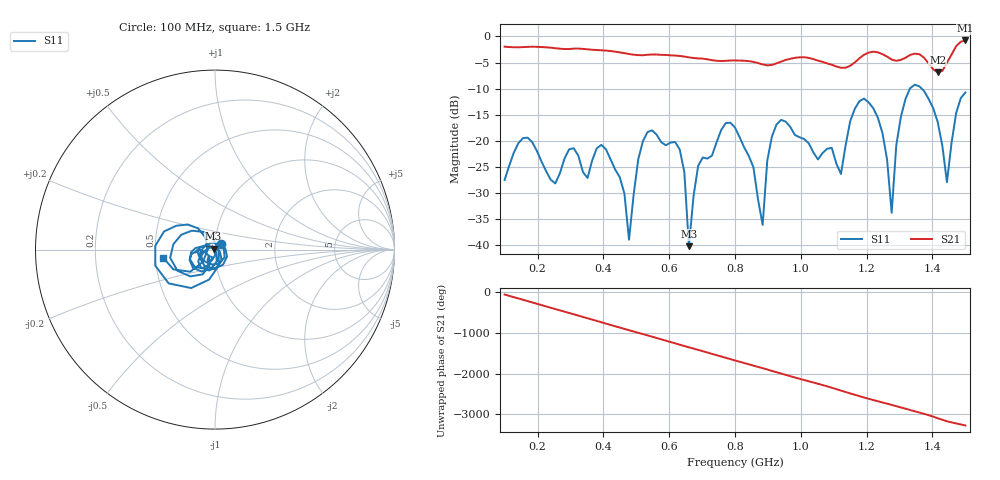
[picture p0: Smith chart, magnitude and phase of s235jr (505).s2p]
! NanoVNA-App
! Date: 2025-09-25 15:08:05
! Start: 100MHz Stop: 1,5GHz Points: 101
! S-Parameter data: F S11 S21 S12 S22
# Hz S RI R 50
!  Frequency  S11_Real  S11_Imag  S21_Real  S21_Imag  S12_Real  S12_Imag  S22_Real  S22_Imag
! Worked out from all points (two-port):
!   101 points, 100 MHz to 1.5 GHz, reference 50 ohm
!   highest |S21| = -0.78 dB at 1.5 GHz (marker M1); lowest = -6.9 dB at 1.416 GHz (marker M2)
!   |S21| within 3 dB of the highest: start of sweep to 636 MHz; 1.187 GHz to 1.259 GHz (72.67 MHz wide, 5.94 % of centre) (the widest 2 of 4)
!   lowest |S11| = -40.1 dB at 660 MHz (marker M3), VSWR 1.02, Z = 49.2 + j0.543 ohm
!   |S11| at or under -10 dB: start of sweep to 1.331 GHz; 1.367 GHz to end of sweep
!   S12 and S22 are empty: the file has one direction only
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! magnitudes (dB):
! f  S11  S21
! 100 MHz  -27.5  -2.0
! 156 MHz  -19.5  -2.0
! 338 MHz  -26.0  -2.4
! 408 MHz  -21.6  -2.7
! 478 MHz  -38.9  -3.4
! 520 MHz  -20.1  -3.6
! 576 MHz  -20.3  -3.5
! 632 MHz  -21.6  -3.7
! 660 MHz  -40.1  -4.0
! 688 MHz  -24.8  -4.2
! 800 MHz  -17.4  -4.6
! 884 MHz  -36.1  -5.4
! 926 MHz  -16.9  -5.2
! 1.038 GHz  -22.2  -4.3
! 1.122 GHz  -26.3  -6.0
! 1.192 GHz  -11.9  -3.5
! 1.248 GHz  -18.5  -3.4
! 1.276 GHz  -33.8  -4.4
! 1.332 GHz  -9.9  -3.5
! 1.416 GHz  -16.4  -6.9
! 1.444 GHz  -27.9  -5.0
! 1.5 GHz  -10.7  -0.8
